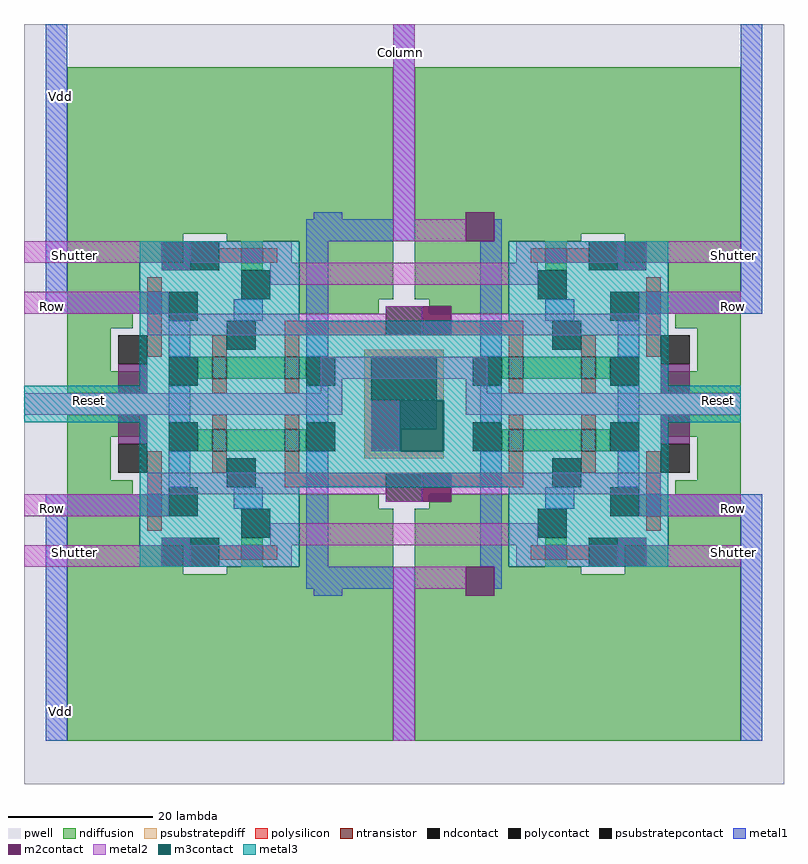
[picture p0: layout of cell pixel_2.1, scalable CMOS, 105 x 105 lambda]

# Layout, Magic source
magic
tech scmos
<< pwell >>
rect -3 -6 102 99
<< ntransistor >>
rect 27 66 30 68
rect 14 59 16 62
rect 69 66 72 68
rect 53 59 56 60
rect 83 59 85 62
rect 23 50 25 53
rect 33 50 35 53
rect 64 50 66 53
rect 74 50 76 53
rect 23 40 25 43
rect 33 40 35 43
rect 64 40 66 43
rect 74 40 76 43
rect 14 31 16 34
rect 53 33 56 34
rect 27 25 30 27
rect 83 31 85 34
rect 69 25 72 27
<< ndiffusion >>
rect 3 70 48 93
rect 3 66 19 70
rect 25 69 48 70
rect 3 62 13 66
rect 27 68 30 69
rect 27 65 30 66
rect 3 59 14 62
rect 16 59 17 62
rect 3 57 12 59
rect 3 51 9 57
rect 35 61 48 69
rect 51 70 96 93
rect 51 69 74 70
rect 51 61 64 69
rect 69 68 72 69
rect 69 65 72 66
rect 80 66 96 70
rect 86 62 96 66
rect 35 59 46 61
rect 53 60 64 61
rect 56 59 64 60
rect 82 59 83 62
rect 85 59 96 62
rect 87 57 96 59
rect 3 48 13 51
rect 21 50 23 53
rect 25 50 33 53
rect 35 50 36 53
rect 63 50 64 53
rect 66 50 74 53
rect 76 50 78 53
rect 90 51 96 57
rect 86 48 96 51
rect 3 42 13 45
rect 3 36 9 42
rect 21 40 23 43
rect 25 40 33 43
rect 35 40 36 43
rect 3 34 12 36
rect 63 40 64 43
rect 66 40 74 43
rect 76 40 78 43
rect 86 42 96 45
rect 3 31 14 34
rect 16 31 17 34
rect 35 32 46 34
rect 56 33 64 34
rect 53 32 64 33
rect 3 27 13 31
rect 3 23 19 27
rect 27 27 30 28
rect 27 24 30 25
rect 35 24 48 32
rect 25 23 48 24
rect 3 0 48 23
rect 51 24 64 32
rect 90 36 96 42
rect 87 34 96 36
rect 82 31 83 34
rect 85 31 96 34
rect 69 27 72 28
rect 69 24 72 25
rect 86 27 96 31
rect 51 23 74 24
rect 80 23 96 27
rect 51 0 96 23
<< ndcontact >>
rect 17 58 21 62
rect 27 61 31 65
rect 68 61 72 65
rect 78 58 82 62
rect 17 49 21 53
rect 36 49 40 53
rect 59 49 63 53
rect 78 49 82 53
rect 17 40 21 44
rect 36 40 40 44
rect 59 40 63 44
rect 78 40 82 44
rect 17 31 21 35
rect 27 28 31 32
rect 68 28 72 32
rect 78 31 82 35
<< psubstratepdiff >>
rect 44 53 55 54
rect 44 47 45 53
rect 54 47 55 53
rect 44 39 55 47
<< psubstratepcontact >>
rect 45 47 54 53
<< polysilicon >>
rect 24 66 27 68
rect 30 66 32 68
rect 14 62 16 64
rect 14 53 16 59
rect 67 66 69 68
rect 72 66 75 68
rect 83 62 85 64
rect 23 53 25 56
rect 33 56 47 58
rect 52 59 53 60
rect 52 58 56 59
rect 52 56 66 58
rect 33 53 35 56
rect 64 53 66 56
rect 74 53 76 56
rect 83 53 85 59
rect 23 48 25 50
rect 33 48 35 50
rect 64 48 66 50
rect 74 48 76 50
rect 23 43 25 45
rect 33 43 35 45
rect 14 34 16 40
rect 23 37 25 40
rect 33 37 35 40
rect 64 43 66 45
rect 74 43 76 45
rect 64 37 66 40
rect 33 35 47 37
rect 52 35 66 37
rect 74 37 76 40
rect 52 34 56 35
rect 52 33 53 34
rect 14 29 16 31
rect 24 25 27 27
rect 30 25 32 27
rect 83 34 85 40
rect 83 29 85 31
rect 67 25 69 27
rect 72 25 75 27
<< polycontact >>
rect 20 65 24 69
rect 10 52 14 56
rect 75 65 79 69
rect 25 54 29 58
rect 47 56 52 60
rect 70 54 74 58
rect 85 52 89 56
rect 10 37 14 41
rect 25 35 29 39
rect 47 33 52 37
rect 70 35 74 39
rect 20 24 24 28
rect 85 37 89 41
rect 75 24 79 28
<< metal1 >>
rect 0 62 3 99
rect 37 72 41 73
rect 48 72 51 99
rect 36 69 51 72
rect 62 69 63 72
rect 0 59 17 62
rect 26 58 30 61
rect 17 53 20 58
rect 36 53 39 69
rect 60 53 63 69
rect 96 62 99 99
rect 69 58 73 61
rect 82 59 99 62
rect 79 53 82 58
rect 17 44 20 49
rect 36 44 39 49
rect 49 43 54 47
rect 60 44 63 49
rect 79 44 82 49
rect 17 35 20 40
rect 0 31 17 34
rect 26 32 30 35
rect 0 0 3 31
rect 36 24 39 40
rect 60 24 63 40
rect 79 35 82 40
rect 69 32 73 35
rect 82 31 99 34
rect 36 21 51 24
rect 37 20 41 21
rect 48 0 51 21
rect 62 21 63 24
rect 96 0 99 31
<< m2contact >>
rect 58 69 62 73
rect 16 65 20 69
rect 10 48 14 52
rect 52 56 56 60
rect 79 65 83 69
rect 10 41 14 45
rect 45 40 49 47
rect 85 48 89 52
rect 16 24 20 28
rect 52 33 56 37
rect 85 41 89 45
rect 79 24 83 28
rect 58 20 62 24
<< metal2 >>
rect 48 72 51 99
rect 48 69 58 72
rect -3 66 16 69
rect 20 66 34 69
rect 65 66 79 69
rect 31 63 68 66
rect 83 66 96 69
rect -3 59 17 62
rect 47 59 52 60
rect 14 56 52 59
rect 82 59 96 62
rect 56 56 85 59
rect 38 50 61 53
rect 38 48 41 50
rect -3 45 41 48
rect 58 48 61 50
rect 58 45 96 48
rect 14 34 52 37
rect -3 31 17 34
rect 47 33 52 34
rect 56 34 85 37
rect 82 31 96 34
rect -3 24 16 27
rect 31 27 68 30
rect 20 24 34 27
rect 65 24 79 27
rect 83 24 96 27
rect 48 21 58 24
rect 48 0 51 21
<< m3contact >>
rect 49 40 55 47
<< metal3 >>
rect 13 58 35 69
rect 64 58 86 69
rect 13 49 86 58
rect -3 47 96 49
rect -3 44 49 47
rect 13 40 49 44
rect 55 44 96 47
rect 55 40 86 44
rect 13 35 86 40
rect 13 24 35 35
rect 64 24 86 35
<< labels >>
rlabel metal2 95 67 95 67 7 Shutter
rlabel metal2 93 47 93 47 1 Reset
rlabel metal2 4 67 4 67 3 Shutter
rlabel metal2 6 47 6 47 1 Reset
rlabel metal1 2 89 2 89 1 Vdd
rlabel metal2 1 60 1 60 3 Row
rlabel metal2 1 32 1 32 3 Row
rlabel metal2 95 32 95 32 7 Row
rlabel metal2 95 60 95 60 7 Row
rlabel metal2 49 95 49 95 5 Column
rlabel metal2 95 26 95 26 7 Shutter
rlabel metal2 4 26 4 26 3 Shutter
rlabel metal1 2 4 2 4 5 Vdd
<< end >>
